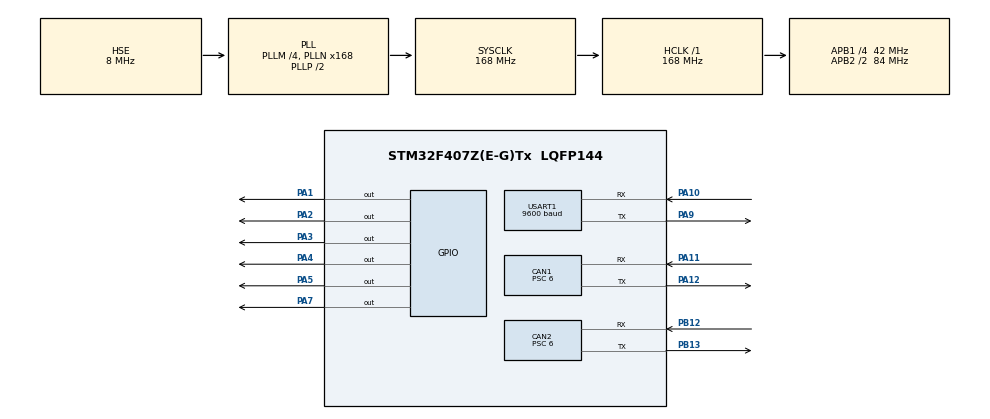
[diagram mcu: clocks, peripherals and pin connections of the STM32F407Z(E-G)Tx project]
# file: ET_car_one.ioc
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CAN1.BS1=CAN_BS1_2TQ
CAN1.BS2=CAN_BS2_4TQ
CAN1.CalculateBaudRate=1000000
CAN1.CalculateTimeBit=1000
CAN1.CalculateTimeQuantum=142.85714285714286
CAN1.Prescaler=6
CAN2.BS1=CAN_BS1_2TQ
CAN2.BS2=CAN_BS2_4TQ
CAN2.CalculateBaudRate=1000000
CAN2.CalculateTimeBit=1000
CAN2.CalculateTimeQuantum=142.85714285714286
CAN2.Prescaler=6
FREERTOS.Tasks01=defaultTask,24,128,StartDefaultTask,Default,NULL,Dynamic,NULL,NULL
Mcu.Family=STM32F4
Mcu.Name=STM32F407Z(E-G)Tx
Mcu.Package=LQFP144
NVIC.CAN1_RX0_IRQn=true\:5\:0\:true\:false\:true\:true\:true\:true\:true
NVIC.CAN2_RX0_IRQn=true\:5\:0\:true\:false\:true\:true\:true\:true\:true
NVIC.PriorityGroup=NVIC_PRIORITYGROUP_4
NVIC.USART1_IRQn=true\:5\:0\:false\:false\:true\:true\:true\:true\:true
PA1.GPIO_Speed=GPIO_SPEED_FREQ_HIGH
PA1.PinState=GPIO_PIN_RESET
PA1.Signal=GPIO_Output
PA10.Mode=Asynchronous
PA10.Signal=USART1_RX
PA11.Mode=CAN_Activate
PA11.Signal=CAN1_RX
PA12.Mode=CAN_Activate
PA12.Signal=CAN1_TX
PA13.Mode=Serial_Wire
PA13.Signal=SYS_JTMS-SWDIO
PA14.Mode=Serial_Wire
PA14.Signal=SYS_JTCK-SWCLK
PA2.GPIO_Speed=GPIO_SPEED_FREQ_HIGH
PA2.PinState=GPIO_PIN_RESET
PA2.Signal=GPIO_Output
PA3.GPIO_Speed=GPIO_SPEED_FREQ_HIGH
PA3.PinState=GPIO_PIN_RESET
PA3.Signal=GPIO_Output
PA4.GPIO_Speed=GPIO_SPEED_FREQ_HIGH
PA4.Signal=GPIO_Output
PA5.GPIO_Speed=GPIO_SPEED_FREQ_HIGH
PA5.Signal=GPIO_Output
PA7.GPIO_Speed=GPIO_SPEED_FREQ_HIGH
PA7.Signal=GPIO_Output
PA9.Mode=Asynchronous
PA9.Signal=USART1_TX
PB12.Mode=CAN_Activate
PB12.Signal=CAN2_RX
PB13.Mode=CAN_Activate
PB13.Signal=CAN2_TX
PH0-OSC_IN.Mode=HSE-External-Oscillator
PH0-OSC_IN.Signal=RCC_OSC_IN
PH1-OSC_OUT.Mode=HSE-External-Oscillator
PH1-OSC_OUT.Signal=RCC_OSC_OUT
ProjectManager.HeapSize=0x200
ProjectManager.StackSize=0x400
ProjectManager.TargetToolchain=MDK-ARM V5
RCC.48MHZClocksFreq_Value=84000000
RCC.AHBFreq_Value=168000000
RCC.APB1CLKDivider=RCC_HCLK_DIV4
RCC.APB1Freq_Value=42000000
RCC.APB1TimFreq_Value=84000000
RCC.APB2CLKDivider=RCC_HCLK_DIV2
RCC.APB2Freq_Value=84000000
RCC.APB2TimFreq_Value=168000000
RCC.CortexFreq_Value=168000000
RCC.HCLKFreq_Value=168000000
RCC.HSE_VALUE=8000000
RCC.HSI_VALUE=16000000
RCC.LSE_VALUE=32768
RCC.PLLM=4
RCC.PLLN=168
RCC.PLLSourceVirtual=RCC_PLLSOURCE_HSE
RCC.SYSCLKFreq_VALUE=168000000
RCC.SYSCLKSource=RCC_SYSCLKSOURCE_PLLCLK
RCC.VCOOutputFreq_Value=336000000
USART1.BaudRate=9600
USART1.VirtualMode=VM_ASYNC
VP_FREERTOS_VS_CMSIS_V2.Mode=CMSIS_V2
board=custom

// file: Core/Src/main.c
/* USER CODE BEGIN Header */
/**
  ******************************************************************************
  * @file           : main.c
  * @brief          : Main program body
  ******************************************************************************
  * @attention
  *
  * Copyright (c) 2023 STMicroelectronics.
  * All rights reserved.
  *
  * This software is licensed under terms that can be found in the LICENSE file
  * in the root directory of this software component.
  * If no LICENSE file comes with this software, it is provided AS-IS.
  *
  ******************************************************************************
  */
/* USER CODE END Header */
#include "main.h"
#include "cmsis_os.h"
#include "can.h"
#include "usart.h"
#include "gpio.h"

/* USER CODE BEGIN Includes */
#include "Emm_V5.h"
#include "cmd_TR.h"
#include "Chassis.h"
#include "Defines.h"
#include "JY901_Usart.h"
#include "spi.h"
#include "LCD.h"
#include "GUI.h"
#include "test.h"
#include "myusart.h"
#include "Servo.h"
#include "Servo_action.h"
#include "fashion_star_uart_servo.h"
/* USER CODE END Includes */

/* USER CODE BEGIN PTD */
extern User_USART JY901_data;
extern _Robotic_arm_t robotic_arm;
extern _Servo_t Servo;
/* USER CODE END PTD */

void SystemClock_Config(void);
void MX_FREERTOS_Init(void);

int main(void)
{

  /* MCU Configuration--------------------------------------------------------*/

  /* Reset of all peripherals, Initializes the Flash interface and the Systick. */
  HAL_Init();

  /* Configure the system clock */
  SystemClock_Config();

  /* Initialize all configured peripherals */
  MX_GPIO_Init();
  MX_CAN1_Init();
  MX_CAN2_Init();
  MX_USART1_UART_Init();
  /* USER CODE BEGIN 2 */
  can_Init();
  LCD_Init();
  Usart_Init();
  HAL_Delay(1000);
  /* USER CODE END 2 */
  /* Init scheduler */
  osKernelInitialize();  /* Call init function for freertos objects (in freertos.c) */
  MX_FREERTOS_Init();

  /* Start scheduler */
  osKernelStart();
  /* We should never get here as control is now taken by the scheduler */
  /* Infinite loop */
  while (1)
  {

  }
}

void SystemClock_Config(void)
{
  RCC_OscInitTypeDef RCC_OscInitStruct = {0};
  RCC_ClkInitTypeDef RCC_ClkInitStruct = {0};

  /** Configure the main internal regulator output voltage
  */
  __HAL_RCC_PWR_CLK_ENABLE();
  __HAL_PWR_VOLTAGESCALING_CONFIG(PWR_REGULATOR_VOLTAGE_SCALE1);

  /** Initializes the RCC Oscillators according to the specified parameters
  * in the RCC_OscInitTypeDef structure.
  */
  RCC_OscInitStruct.OscillatorType = RCC_OSCILLATORTYPE_HSE;
  RCC_OscInitStruct.HSEState = RCC_HSE_ON;
  RCC_OscInitStruct.PLL.PLLState = RCC_PLL_ON;
  RCC_OscInitStruct.PLL.PLLSource = RCC_PLLSOURCE_HSE;
  RCC_OscInitStruct.PLL.PLLM = 4;
  RCC_OscInitStruct.PLL.PLLN = 168;
  RCC_OscInitStruct.PLL.PLLP = RCC_PLLP_DIV2;
  RCC_OscInitStruct.PLL.PLLQ = 4;
  if (HAL_RCC_OscConfig(&RCC_OscInitStruct) != HAL_OK)
  {
    Error_Handler();
  }

  /** Initializes the CPU, AHB and APB buses clocks
  */
  RCC_ClkInitStruct.ClockType = RCC_CLOCKTYPE_HCLK|RCC_CLOCKTYPE_SYSCLK
                              |RCC_CLOCKTYPE_PCLK1|RCC_CLOCKTYPE_PCLK2;
  RCC_ClkInitStruct.SYSCLKSource = RCC_SYSCLKSOURCE_PLLCLK;
  RCC_ClkInitStruct.AHBCLKDivider = RCC_SYSCLK_DIV1;
  RCC_ClkInitStruct.APB1CLKDivider = RCC_HCLK_DIV4;
  RCC_ClkInitStruct.APB2CLKDivider = RCC_HCLK_DIV2;

  if (HAL_RCC_ClockConfig(&RCC_ClkInitStruct, FLASH_LATENCY_5) != HAL_OK)
  {
    Error_Handler();
  }
}

void Error_Handler(void)
{
  __disable_irq();
  while (1)
  {
  }
}

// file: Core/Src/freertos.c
/* USER CODE BEGIN Header */
/**
  ******************************************************************************
  * File Name          : freertos.c
  * Description        : Code for freertos applications
  ******************************************************************************
  * @attention
  *
  * Copyright (c) 2023 STMicroelectronics.
  * All rights reserved.
  *
  * This software is licensed under terms that can be found in the LICENSE file
  * in the root directory of this software component.
  * If no LICENSE file comes with this software, it is provided AS-IS.
  *
  ******************************************************************************
  */
/* USER CODE END Header */

#include "FreeRTOS.h"
#include "task.h"
#include "main.h"
#include "cmsis_os.h"

/* USER CODE BEGIN Includes */
#include "AHR_Task.h"
#include "LCD_Task.h"
#include "Chassis_Task.h"
#include "Main_Task.h"
/* USER CODE END Includes */

/* Definitions for defaultTask */
//osThreadId_t defaultTaskHandle;
//const osThreadAttr_t defaultTask_attributes = {
//  .name = "defaultTask",
//  .stack_size = 128 * 4,
//  .priority = (osPriority_t) osPriorityNormal,
//};

/* USER CODE BEGIN FunctionPrototypes */
/* Definitions for AHR_Task */
osThreadId_t AHRTaskHandle;
const osThreadAttr_t AHRTask_attributes = {
  .name = "AHR_Task",
  .stack_size = 128 * 4,
  .priority = (osPriority_t) osPriorityNormal1,
};
/* Definitions for LCD_Task */
osThreadId_t LCDTaskHandle;
const osThreadAttr_t LCDTask_attributes = {
  .name = "LCD_Task",
  .stack_size = 128 * 4,
  .priority = (osPriority_t) osPriorityNormal1,
};
/* Definitions for Chassis_Task */
osThreadId_t ChassisTaskHandle;
const osThreadAttr_t ChassisTask_attributes = {
  .name = "Chassis_Task",
  .stack_size = 128 * 4,
  .priority = (osPriority_t) osPriorityNormal4,
};
/* Definitions for Main_Task */
osThreadId_t MainTaskHandle;
const osThreadAttr_t MainTask_attributes = {
  .name = "Main_Task",
  .stack_size = 128 * 4,
  .priority = (osPriority_t) osPriorityNormal5,
};
/* USER CODE END FunctionPrototypes */

void StartDefaultTask(void *argument);

void MX_FREERTOS_Init(void); /* (MISRA C 2004 rule 8.1) */

void MX_FREERTOS_Init(void) {

  /* Create the thread(s) */
  /* creation of defaultTask */
//  defaultTaskHandle = osThreadNew(StartDefaultTask, NULL, &defaultTask_attributes);

  AHRTaskHandle = osThreadNew(AHR_Task, NULL, &AHRTask_attributes);
  LCDTaskHandle = osThreadNew(LCD_Task, NULL, &LCDTask_attributes);
  ChassisTaskHandle = osThreadNew(Chassis_Task, NULL, &ChassisTask_attributes);
  MainTaskHandle = osThreadNew(Main_Task, NULL, &MainTask_attributes);

}

//void StartDefaultTask(void *argument)
//{
//  /* USER CODE BEGIN StartDefaultTask */
//  /* Infinite loop */
//  for(;;)
//  {
//    osDelay(1);
//  }
//  /* USER CODE END StartDefaultTask */
//}
